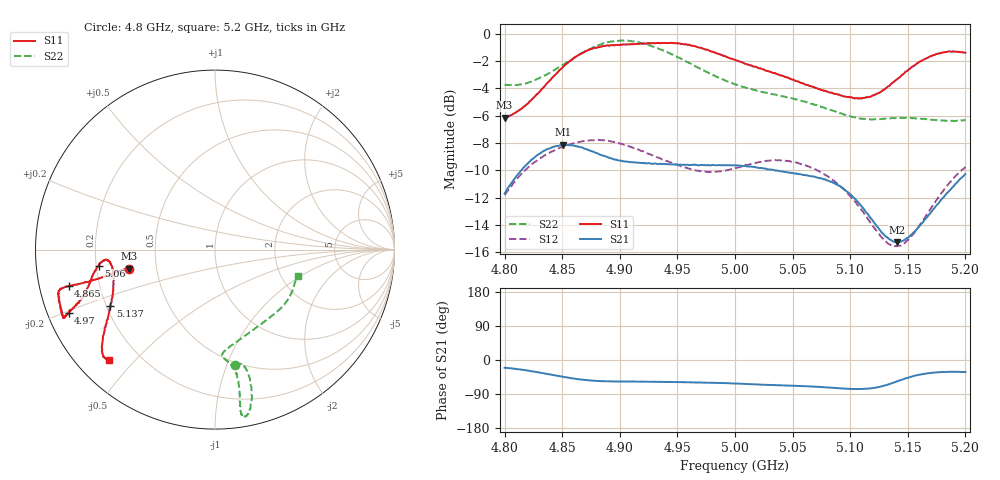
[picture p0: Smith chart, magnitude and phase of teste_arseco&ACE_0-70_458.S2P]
! Network Analyzer HP8722D
! Hewlett-Packard
! Data name: Linha & Wilkinson
! Saver's name: Rodrigo Anjos
! Comments: Teste da utilização de aquisição
! continua pelo VNA HP8722D
! Time and date: 8/5/2025 16:34
!  Frequency  S11  S21  S12  S22
# HZ  S  MA R 50
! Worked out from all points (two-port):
!   401 points, 4.8 GHz to 5.2 GHz, reference 50 ohm
!   highest |S21| = -8.13 dB at 4.851 GHz (marker M1); lowest = -15.3 dB at 5.141 GHz (marker M2)
!   |S21| within 3 dB of the highest: 4.804 GHz to 5.09 GHz (286.2 MHz wide, 5.78 % of centre); 5.190061 GHz to end of sweep
!   lowest |S11| = -6.2 dB at 4.8 GHz (marker M3), VSWR 2.94, Z = 17.2 - j4.84 ohm
!   |S11| at or under -10 dB: nowhere
!   |S22| runs from -6.4 to -0.5 dB; largest |S21 - S12| = 0.62
!   S11 on the Smith chart (normalised r, x): 4.8 GHz: 0.34, -0.10; 4.865 GHz: 0.09, -0.12; 4.97 GHz: 0.06, -0.21; 5.06 GHz: 0.21, -0.07; 5.137 GHz: 0.22, -0.24; 5.2 GHz: 0.09, -0.42
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4.8e9  0.4926 -167.5  0.2601 -20.6  0.2566 -141.7  0.6508 -80.2
4.826e9  0.5878 -166.8  0.3527 -30.9  0.3389 -145.8  0.6759 -75.9
4.851e9  0.7585 -165.8  0.3922 -44.5  0.3866 -150.2  0.7717 -75.0
4.865e9  0.8406 -166.1  0.3846 -51.0  0.4017 -152.6  0.8384 -75.8
4.867e9  0.851 -166.0  0.3844 -51.7  0.4034 -152.8  0.8474 -76.0
4.879e9  0.8892 -165.8  0.3663 -54.9  0.4082 -154.7  0.8994 -77.2
4.899e9  0.9103 -162.9  0.3439 -57.0  0.3978 -157.1  0.9428 -79.5
4.934e9  0.927 -156.6  0.3336 -57.7  0.352 -155.9  0.8802 -81.0
4.97e9  0.8888 -156.6  0.331 -59.4  0.3146 -147.2  0.7444 -79.9
5e9  0.8026 -159.3  0.3297 -62.2  0.3221 -137.6  0.6536 -81.6
5.036e9  0.7131 -166.1  0.3159 -66.5  0.3442 -135.1  0.5975 -85.9
5.06e9  0.6549 -172.1  0.304 -68.8  0.3315 -136.9  0.5653 -84.3
5.067e9  0.6405 -173.4  0.3009 -69.8  0.3232 -137.6  0.5536 -82.7
5.084e9  0.6093 -174.6  0.2876 -73.2  0.2934 -139.1  0.5246 -75.9
5.101e9  0.5861 -171.6  0.2571 -76.3  0.2518 -139.3  0.4971 -65.9
5.116e9  0.5874 -164.6  0.2167 -75.7  0.2082 -135.2  0.4864 -55.1
5.134e9  0.6446 -153.2  0.177 -63.5  0.1696 -119.0  0.4903 -42.9
5.137e9  0.6628 -151.6  0.1738 -60.5  0.1677 -115.0  0.4917 -41.1
5.141e9  0.6834 -149.4  0.1726 -56.0  0.1669 -109.9  0.4917 -38.7
5.153e9  0.7536 -144.7  0.1838 -44.0  0.1811 -94.9  0.4911 -32.5
5.173e9  0.8357 -138.8  0.2298 -33.3  0.2395 -80.7  0.4837 -24.2
5.2e9  0.8521 -133.8  0.3065 -31.9  0.3256 -77.6  0.4827 -17.7
